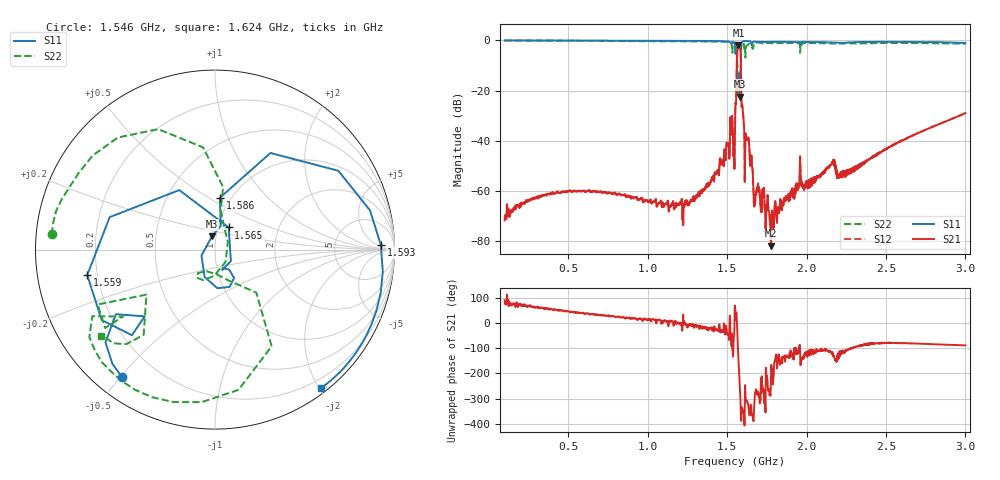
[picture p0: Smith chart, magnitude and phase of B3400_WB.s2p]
! Matrix data file written by TouchstoneData, EPCOS AG
! FILENAME: "B3400_WB.s2p"
! COMMENT: "PCB328"
! INFO: nport=2, nfreq=1601
! DATE: "Mon Mar 03 2014"
! USER: "Hiroshi Tanaka"
! port | pin | signal
!  1  |  2  |  in
!  2  |  5  |  out
# MHZ S MA R 50
! freq  magS11 angS11  magS21 angS21  magS12 angS12  magS22 angS22
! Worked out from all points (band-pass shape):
!   1601 points, 100 MHz to 3 GHz, reference 50 ohm
!   highest |S21| = -1.95 dB at 1.572 GHz (marker M1); lowest = -81.7 dB at 1.777 GHz (marker M2)
!   |S21| within 3 dB of the highest: 1.564 GHz to 1.585 GHz (21.55 MHz wide, 1.37 % of centre)
!   lowest |S11| = -22.3 dB at 1.583 GHz (marker M3), VSWR 1.17, Z = 47.8 + j7.18 ohm
!   |S11| at or under -10 dB: 1.563 GHz to 1.586 GHz (23.39 MHz wide, 1.49 % of centre)
!   |S22| runs from -21.5 to 0.0 dB; largest |S21 - S12| = 0.00084
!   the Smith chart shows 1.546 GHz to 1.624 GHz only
!   S11 on the Smith chart (normalised r, x): 1.546 GHz: 0.08, -0.51; 1.559 GHz: 0.16, -0.10; 1.565 GHz: 1.13, +0.28; 1.586 GHz: 0.89, +0.56; 1.593 GHz: 22, +8; 1.624 GHz: 0.07, -2.02
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100  0.9982 -5.6  0.0002616 89.7  0.0002752 90.9  0.9979 -13.5
583.9375  0.9951 -31.6  0.001003 39.0  0.001012 39.6  0.9832 -72.7
1067.875  0.9863 -56.0  0.0005783 13.1  0.0005739 14.4  0.9633 -117.5
1354.25  0.9769 -71.9  0.001094 -18.4  0.001099 -18.4  0.9538 -141.6
1546.375  0.88 -126.0  0.002761 -15.4  0.002764 -15.5  0.914 174.7
1550  0.7998 -139.7  0.01954 68.4  0.01954 68.4  0.9111 166.4
1559.062  0.7256 -168.8  0.1397 41.0  0.1397 41.0  0.8264 130.9
1564.5  0.1453 58.3  0.6308 -39.8  0.6307 -39.8  0.3518 82.6
1571.75  0.1373 -54.5  0.7993 -143.2  0.7992 -143.3  0.09027 -49.4
1582.625  0.07645 102.6  0.723 85.6  0.7228 85.5  0.1406 -84.5
1586.25  0.2903 84.6  0.498 14.8  0.4976 14.7  0.3322 -46.2
1593.5  0.9242 1.7  0.05311 26.4  0.05307 26.4  0.8807 -105.3
1604.375  0.9714 -32.4  0.025 1.8  0.02497 1.8  0.8757 -139.6
1624.312  0.9717 -52.7  0.01122 53.3  0.01122 53.3  0.7956 -142.9
1653.312  0.8603 -68.2  0.005204 13.4  0.005198 13.2  0.7745 158.3
1673.25  0.9478 -66.0  0.0005257 54.1  0.00052 55.1  0.8842 -72.0
1684.125  0.9369 -67.7  0.0009865 81.2  0.0009929 81.2  0.9073 -107.4
1704.062  0.9363 -70.1  0.001063 63.8  0.001069 63.4  0.905 -127.4
1776.562  0.9329 -75.5  8.246e-05 141.6  8.02e-05 148.6  0.8839 -145.4
2033.938  0.9283 -86.9  0.001775 -115.7  0.001772 -115.5  0.8857 -163.5
2517.875  0.9364 -101.4  0.007468 -78.1  0.007455 -78.2  0.8903 171.8
3000  0.8919 -119.8  0.03593 -88.8  0.03587 -88.9  0.8603 141.5
